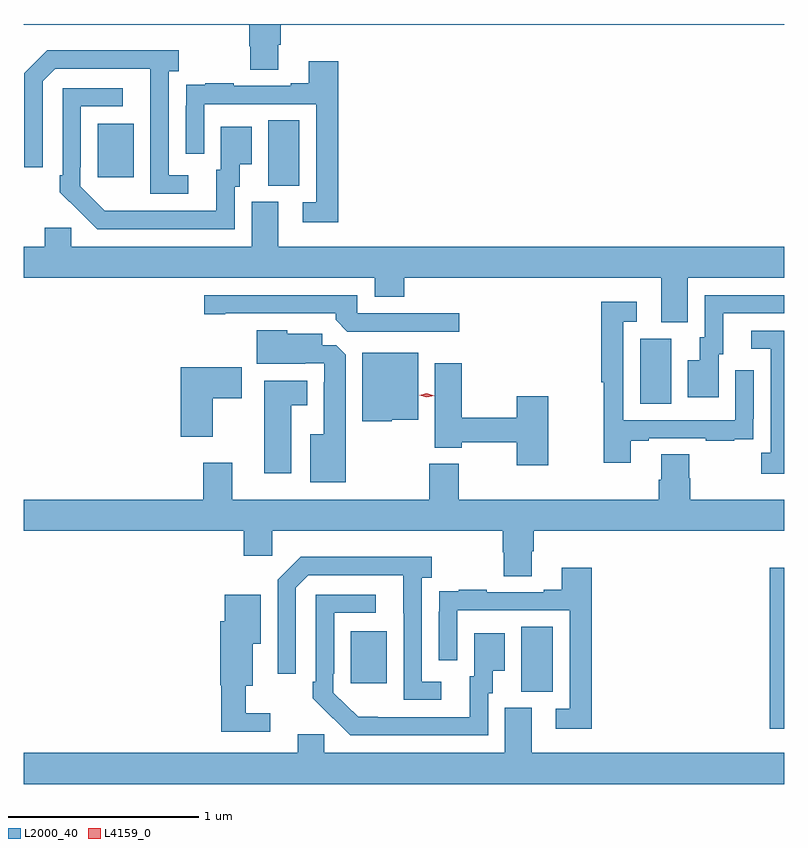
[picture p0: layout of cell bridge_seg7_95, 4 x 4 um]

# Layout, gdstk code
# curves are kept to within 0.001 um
import gdstk
lib = gdstk.Library(unit=1e-6, precision=1e-09)
def R(c, l, rs):  # rectangles x0, y0, x1, y1
    for r in rs: c.add(gdstk.rectangle(r[:2], r[2:], *l))
def P(c, l, *ps):  # polygons
    for p in ps: c.add(gdstk.Polygon(p, *l))
L2000_40 = (2000, 40)
L4159_0 = (4159, 0)

bridge_seg7_95 = lib.new_cell('bridge_seg7_95')
R(bridge_seg7_95, L2000_40, [(1093.297,1016.892,1093.372,1017.739), (1091.99,1017.085,1092.154,1017.428), (1091.093,1017.129,1091.281,1017.403), (1092.614,1018.6,1092.778,1018.944), (1090.658,1019.749,1090.822,1020.092), (1089.761,1019.793,1089.949,1020.073)])
P(bridge_seg7_95, L2000_40, [(1090.711,1020.49),(1090.724,1020.49),(1090.724,1020.596),(1093.372,1020.596),(1093.372,1020.599),(1089.372,1020.599),(1089.372,1020.596),(1090.559,1020.596),(1090.559,1020.483),(1090.564,1020.483),(1090.564,1020.358),(1090.711,1020.358)],
  [(1090.237,1019.802),(1090.134,1019.802),(1090.134,1020.35),(1090.186,1020.35),(1090.186,1020.46),(1089.496,1020.46),(1089.375,1020.339),(1089.375,1019.844),(1089.471,1019.844),(1089.471,1020.297),(1089.537,1020.363),(1090.038,1020.363),(1090.038,1019.706),(1090.237,1019.706)],
  [(1091.027,1020.403),(1090.871,1020.403),(1090.871,1020.286),(1090.775,1020.286),(1090.775,1020.273),(1090.475,1020.273),(1090.475,1020.286),(1090.327,1020.286),(1090.327,1020.279),(1090.225,1020.279),(1090.225,1020.17),(1090.224,1020.17),(1090.224,1019.916),(1090.32,1019.916),(1090.32,1020.177),(1090.911,1020.177),(1090.911,1019.661),(1090.839,1019.661),(1090.839,1019.556),(1091.027,1019.556)],
  [(1090.482,1019.742),(1090.507,1019.742),(1090.507,1019.861),(1090.57,1019.861),(1090.57,1020.058),(1090.409,1020.058),(1090.409,1019.832),(1090.385,1019.832),(1090.385,1019.616),(1089.798,1019.617),(1089.669,1019.745),(1089.669,1019.845),(1089.672,1019.845),(1089.672,1020.165),(1089.892,1020.165),(1089.892,1020.261),(1089.576,1020.261),(1089.576,1019.803),(1089.561,1019.803),(1089.561,1019.715),(1089.758,1019.52),(1090.482,1019.52)],
  [(1092.865,1019.264),(1093.372,1019.264),(1093.372,1019.428),(1090.711,1019.428),(1090.711,1019.664),(1090.571,1019.664),(1090.571,1019.428),(1089.621,1019.428),(1089.621,1019.526),(1089.482,1019.526),(1089.482,1019.428),(1089.372,1019.428),(1089.372,1019.264),(1091.219,1019.264),(1091.219,1019.165),(1091.372,1019.165),(1091.372,1019.264),(1092.725,1019.264),(1092.725,1019.029),(1092.865,1019.029)],
  [(1093.027,1018.86),(1093.051,1018.86),(1093.051,1019.076),(1093.372,1019.076),(1093.372,1019.172),(1092.954,1019.172),(1092.954,1018.95),(1092.929,1018.95),(1092.929,1018.831),(1092.866,1018.831),(1092.866,1018.635),(1093.027,1018.635)],
  [(1091.662,1019.076),(1091.127,1019.076),(1091.127,1019.172),(1090.32,1019.172),(1090.32,1019.071),(1090.432,1019.071),(1090.432,1019.076),(1091.012,1019.076),(1091.012,1019.042),(1091.073,1018.98),(1091.662,1018.98)],
  [(1092.565,1018.407),(1092.661,1018.407),(1092.661,1018.419),(1092.961,1018.419),(1092.961,1018.407),(1093.109,1018.407),(1093.109,1018.413),(1093.211,1018.413),(1093.211,1018.522),(1093.212,1018.522),(1093.212,1018.777),(1093.116,1018.777),(1093.116,1018.515),(1092.525,1018.515),(1092.525,1019.031),(1092.598,1019.031),(1092.598,1019.137),(1092.409,1019.137),(1092.409,1018.713),(1092.424,1018.713),(1092.424,1018.29),(1092.565,1018.29)],
  [(1091.065,1018.859),(1091.016,1018.908),(1090.942,1018.908),(1090.942,1018.969),(1090.758,1018.969),(1090.758,1018.987),(1090.598,1018.987),(1090.598,1018.811),(1090.853,1018.811),(1090.853,1018.815),(1090.953,1018.815),(1090.953,1018.715),(1090.949,1018.715),(1090.949,1018.441),(1090.88,1018.441),(1090.88,1018.187),(1091.065,1018.187)],
  [(1093.372,1018.986),(1093.2,1018.986),(1093.2,1018.89),(1093.302,1018.89),(1093.302,1018.342),(1093.251,1018.342),(1093.251,1018.232),(1093.372,1018.232)],
  [(1091.307,1018.517),(1091.446,1018.517),(1091.446,1018.87),(1091.153,1018.87),(1091.153,1018.508),(1091.307,1018.508)],
  [(1092.13,1018.639),(1091.965,1018.639),(1091.965,1018.526),(1091.676,1018.526),(1091.676,1018.813),(1091.534,1018.813),(1091.534,1018.37),(1091.676,1018.37),(1091.676,1018.398),(1091.965,1018.398),(1091.965,1018.278),(1092.13,1018.278)],
  [(1090.366,1018.63),(1090.519,1018.63),(1090.519,1018.792),(1090.196,1018.792),(1090.196,1018.427),(1090.366,1018.427)],
  [(1090.78,1018.592),(1090.864,1018.592),(1090.864,1018.723),(1090.637,1018.723),(1090.637,1018.235),(1090.78,1018.235)],
  [(1092.043,1017.826),(1092.056,1017.826),(1092.056,1017.932),(1093.372,1017.932),(1093.372,1018.096),(1092.878,1018.096),(1092.878,1018.209),(1092.873,1018.209),(1092.873,1018.334),(1092.725,1018.334),(1092.725,1018.202),(1092.713,1018.202),(1092.713,1018.096),(1091.661,1018.096),(1091.661,1018.285),(1091.506,1018.285),(1091.506,1018.096),(1090.468,1018.096),(1090.468,1018.291),(1090.316,1018.291),(1090.316,1018.096),(1089.372,1018.096),(1089.372,1017.932),(1090.529,1017.932),(1090.529,1017.801),(1090.68,1017.801),(1090.68,1017.932),(1091.891,1017.932),(1091.891,1017.819),(1091.896,1017.819),(1091.896,1017.694),(1092.043,1017.694)],
  [(1091.569,1017.138),(1091.466,1017.138),(1091.466,1017.686),(1091.518,1017.686),(1091.518,1017.796),(1090.828,1017.796),(1090.707,1017.675),(1090.707,1017.18),(1090.803,1017.18),(1090.803,1017.633),(1090.869,1017.699),(1091.369,1017.699),(1091.37,1017.042),(1091.569,1017.042)],
  [(1092.359,1017.739),(1092.203,1017.739),(1092.203,1017.622),(1092.107,1017.622),(1092.107,1017.609),(1091.807,1017.609),(1091.807,1017.622),(1091.659,1017.622),(1091.659,1017.615),(1091.557,1017.615),(1091.557,1017.506),(1091.556,1017.506),(1091.556,1017.252),(1091.652,1017.252),(1091.652,1017.513),(1092.243,1017.513),(1092.243,1016.997),(1092.171,1016.997),(1092.171,1016.892),(1092.359,1016.892)],
  [(1091.814,1017.078),(1091.839,1017.078),(1091.839,1017.197),(1091.902,1017.197),(1091.902,1017.394),(1091.741,1017.394),(1091.741,1017.168),(1091.717,1017.168),(1091.717,1016.952),(1091.13,1016.953),(1091.001,1017.081),(1091.001,1017.181),(1091.004,1017.181),(1091.004,1017.501),(1091.224,1017.501),(1091.224,1017.597),(1090.908,1017.597),(1090.908,1017.139),(1090.893,1017.139),(1090.893,1017.051),(1091.09,1016.856),(1091.814,1016.856)],
  [(1090.669,1016.971),(1090.54,1016.971),(1090.54,1017.116),(1090.576,1017.116),(1090.576,1017.338),(1090.618,1017.338),(1090.618,1017.595),(1090.43,1017.595),(1090.43,1017.456),(1090.406,1017.456),(1090.406,1017.12),(1090.411,1017.12),(1090.411,1016.874),(1090.669,1016.874)],
  [(1093.372,1016.764),(1092.043,1016.764),(1092.043,1017),(1091.903,1017),(1091.903,1016.764),(1090.953,1016.764),(1090.953,1016.862),(1090.814,1016.862),(1090.814,1016.764),(1089.372,1016.764),(1089.372,1016.6),(1093.372,1016.6)])
P(bridge_seg7_95, L4159_0, [(1091.492,1018.635),(1091.453,1018.646),(1091.453,1018.646),(1091.453,1018.646),(1091.492,1018.655),(1091.531,1018.644),(1091.531,1018.644),(1091.531,1018.644)])

lib.write_gds('bridge_seg7_95.gds')
